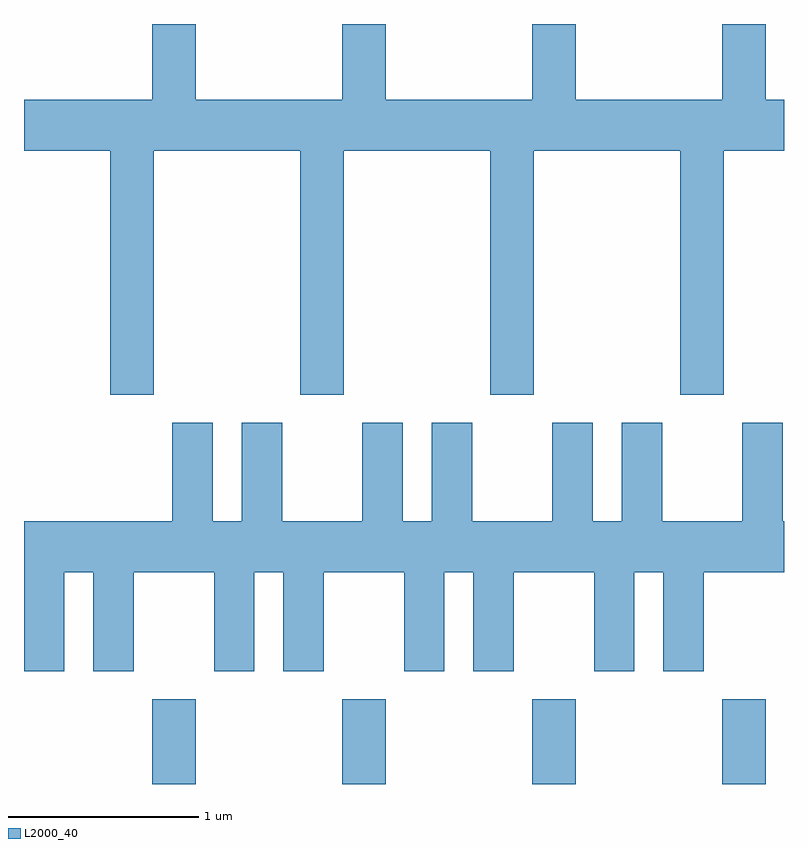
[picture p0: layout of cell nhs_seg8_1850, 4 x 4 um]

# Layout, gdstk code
import gdstk
lib = gdstk.Library(unit=1e-6, precision=1e-09)
def R(c, l, rs):  # rectangles x0, y0, x1, y1
    for r in rs: c.add(gdstk.rectangle(r[:2], r[2:], *l))
def A(c, l, x, y, w, h, nx, ny, dx, dy):  # array of equal rectangles
    R(c, l, [(x+i*dx, y+j*dy, x+i*dx+w, y+j*dy+h) for i in range(nx) for j in range(ny)])
def P(c, l, *ps):  # polygons
    for p in ps: c.add(gdstk.Polygon(p, *l))
L2000_40 = (2000, 40)

nhs_seg8_1850 = lib.new_cell('nhs_seg8_1850')
A(nhs_seg8_1850, L2000_40, 240.286, 1906.342, 0.228, 0.447, 4, 1, 1, 0)
P(nhs_seg8_1850, L2000_40, [(240.294,1909.676),(241.066,1909.676),(241.066,1908.391),(241.294,1908.391),(241.294,1909.676),(242.066,1909.676),(242.066,1908.391),(242.294,1908.391),(242.294,1909.676),(243.066,1909.676),(243.066,1908.391),(243.294,1908.391),(243.294,1909.676),(243.611,1909.676),(243.611,1909.944),(243.514,1909.944),(243.514,1910.342),(243.286,1910.342),(243.286,1909.944),(242.514,1909.944),(242.514,1910.342),(242.286,1910.342),(242.286,1909.944),(241.514,1909.944),(241.514,1910.342),(241.286,1910.342),(241.286,1909.944),(240.514,1909.944),(240.514,1910.342),(240.286,1910.342),(240.286,1909.944),(239.611,1909.944),(239.611,1909.676),(240.066,1909.676),(240.066,1908.391),(240.294,1908.391)],
  [(241.969,1908.244),(241.756,1908.244),(241.756,1907.724),(241.604,1907.724),(241.604,1908.244),(241.391,1908.244),(241.391,1907.724),(240.969,1907.724),(240.969,1908.244),(240.756,1908.244),(240.756,1907.724),(240.604,1907.724),(240.604,1908.244),(240.391,1908.244),(240.391,1907.724),(239.611,1907.724),(239.611,1906.936),(239.824,1906.936),(239.824,1907.456),(239.976,1907.456),(239.976,1906.936),(240.189,1906.936),(240.189,1907.456),(240.611,1907.456),(240.611,1906.936),(240.824,1906.936),(240.824,1907.456),(240.976,1907.456),(240.976,1906.936),(241.189,1906.936),(241.189,1907.456),(241.611,1907.456),(241.611,1906.936),(241.824,1906.936),(241.824,1907.456),(241.976,1907.456),(241.976,1906.936),(242.189,1906.936),(242.189,1907.456),(242.611,1907.456),(242.611,1906.936),(242.824,1906.936),(242.824,1907.456),(242.976,1907.456),(242.976,1906.936),(243.189,1906.936),(243.189,1907.456),(243.611,1907.456),(243.611,1907.724),(243.604,1907.724),(243.604,1908.244),(243.391,1908.244),(243.391,1907.724),(242.969,1907.724),(242.969,1908.244),(242.756,1908.244),(242.756,1907.724),(242.604,1907.724),(242.604,1908.244),(242.391,1908.244),(242.391,1907.724),(241.969,1907.724)])

lib.write_gds('nhs_seg8_1850.gds')
